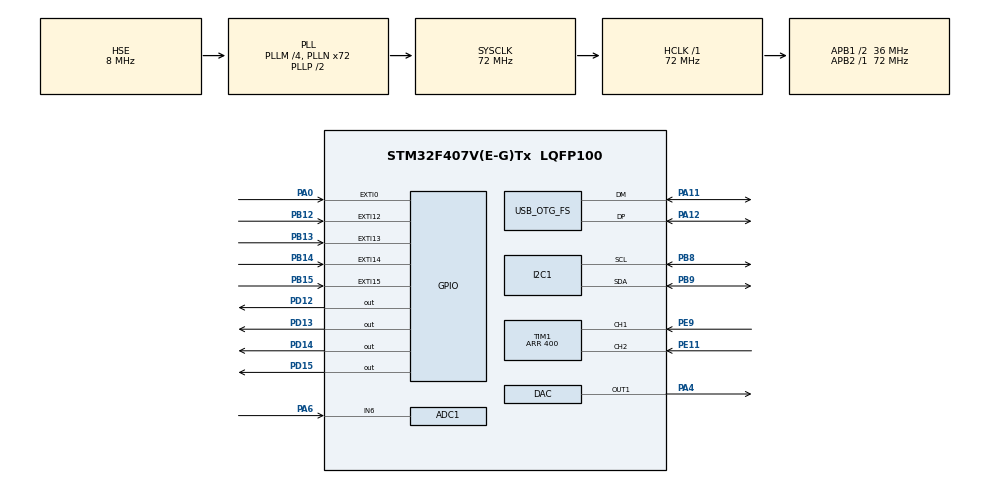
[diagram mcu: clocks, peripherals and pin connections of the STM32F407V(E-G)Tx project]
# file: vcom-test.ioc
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ADC1.Channel-0\#ChannelRegularConversion=ADC_CHANNEL_6
ADC1.NbrOfConversionFlag=1
ADC1.Rank-0\#ChannelRegularConversion=1
ADC1.SamplingTime-0\#ChannelRegularConversion=ADC_SAMPLETIME_3CYCLES
ADC1.master=1
Mcu.Family=STM32F4
Mcu.Name=STM32F407V(E-G)Tx
Mcu.Package=LQFP100
NVIC.EXTI0_IRQn=true\:0\:0\:false\:false\:true\:true
NVIC.EXTI15_10_IRQn=true\:0\:0\:false\:false\:true\:true
NVIC.OTG_FS_IRQn=true\:0\:0\:false\:false\:true\:false
NVIC.PriorityGroup=NVIC_PRIORITYGROUP_4
NVIC.TIM3_IRQn=true\:0\:0\:false\:false\:true\:true
NVIC.TIM4_IRQn=true\:0\:0\:false\:false\:true\:true
PA0-WKUP.GPIO_PuPd=GPIO_NOPULL
PA0-WKUP.Signal=GPXTI0
PA11.Mode=Device_Only
PA11.Signal=USB_OTG_FS_DM
PA12.Mode=Device_Only
PA12.Signal=USB_OTG_FS_DP
PA4.Signal=COMP_DAC1_group
PA6.Signal=ADCx_IN6
PB12.GPIO_PuPd=GPIO_PULLUP
PB12.Signal=GPXTI12
PB13.GPIO_PuPd=GPIO_PULLUP
PB13.Signal=GPXTI13
PB14.GPIO_PuPd=GPIO_PULLUP
PB14.Signal=GPXTI14
PB15.GPIO_PuPd=GPIO_PULLUP
PB15.Signal=GPXTI15
PB8.Mode=I2C
PB8.Signal=I2C1_SCL
PB9.Mode=I2C
PB9.Signal=I2C1_SDA
PD12.Signal=GPIO_Output
PD13.Signal=GPIO_Output
PD14.Signal=GPIO_Output
PD15.Signal=GPIO_Output
PE11.Signal=S_TIM1_CH2
PE9.Signal=S_TIM1_CH1
PH0-OSC_IN.Mode=HSE-External-Oscillator
PH0-OSC_IN.Signal=RCC_OSC_IN
PH1-OSC_OUT.Mode=HSE-External-Oscillator
PH1-OSC_OUT.Signal=RCC_OSC_OUT
ProjectManager.HeapSize=0x200
ProjectManager.StackSize=0x400
ProjectManager.TargetToolchain=SW4STM32
RCC.48MHZClocksFreq_Value=48000000
RCC.AHBFreq_Value=72000000
RCC.APB1CLKDivider=RCC_HCLK_DIV2
RCC.APB1Freq_Value=36000000
RCC.APB1TimFreq_Value=72000000
RCC.APB2Freq_Value=72000000
RCC.APB2TimFreq_Value=72000000
RCC.CortexFreq_Value=72000000
RCC.HCLKFreq_Value=72000000
RCC.HSE_VALUE=8000000
RCC.HSI_VALUE=16000000
RCC.LSE_VALUE=32768
RCC.PLLM=4
RCC.PLLN=72
RCC.PLLQ=3
RCC.SYSCLKFreq_VALUE=72000000
RCC.SYSCLKSource=RCC_SYSCLKSOURCE_PLLCLK
RCC.VCOOutputFreq_Value=144000000
SH.ADCx_IN6.0=ADC1_IN6,IN6
SH.COMP_DAC1_group.0=DAC_OUT1,DAC_OUT1
SH.S_TIM1_CH1.0=TIM1_CH1,Encoder_Interface
SH.S_TIM1_CH2.0=TIM1_CH2,Encoder_Interface
TIM1.EncoderMode=TIM_ENCODERMODE_TI12
TIM1.IC1Filter=15
TIM1.IC2Filter=15
TIM1.Period=400
TIM3.Period=9
TIM3.Prescaler=524
TIM4.Period=9999
TIM4.Prescaler=2099
USB_DEVICE.CLASS_NAME_FS=CDC
USB_DEVICE.VirtualMode-CDC_FS=Cdc
USB_DEVICE.VirtualModeFS=Cdc_FS
USB_OTG_FS.VirtualMode=Device_Only
VP_TIM3_VS_ClockSourceINT.Mode=Internal
VP_TIM4_VS_ClockSourceINT.Mode=Internal
VP_USB_DEVICE_VS_USB_DEVICE_CDC_FS.Mode=CDC_FS
board=custom

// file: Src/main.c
/* USER CODE BEGIN Header */
/**
  ******************************************************************************
  * @file           : main.c
  * @brief          : Main program body
  ******************************************************************************
  * This notice applies to any and all portions of this file
  * that are not between comment pairs USER CODE BEGIN and
  * USER CODE END. Other portions of this file, whether
  * inserted by the user or by software development tools
  * are owned by their respective copyright owners.
  *
  * Copyright (c) 2019 STMicroelectronics International N.V.
  * All rights reserved.
  *
  * Redistribution and use in source and binary forms, with or without
  * modification, are permitted, provided that the following conditions are met:
  *
  * 1. Redistribution of source code must retain the above copyright notice,
  *    this list of conditions and the following disclaimer.
  * 2. Redistributions in binary form must reproduce the above copyright notice,
  *    this list of conditions and the following disclaimer in the documentation
  *    and/or other materials provided with the distribution.
  * 3. Neither the name of STMicroelectronics nor the names of other
  *    contributors to this software may be used to endorse or promote products
  *    derived from this software without specific written permission.
  * 4. This software, including modifications and/or derivative works of this
  *    software, must execute solely and exclusively on microcontroller or
  *    microprocessor devices manufactured by or for STMicroelectronics.
  * 5. Redistribution and use of this software other than as permitted under
  *    this license is void and will automatically terminate your rights under
  *    this license.
  *
  * THIS SOFTWARE IS PROVIDED BY STMICROELECTRONICS AND CONTRIBUTORS "AS IS"
  * AND ANY EXPRESS, IMPLIED OR STATUTORY WARRANTIES, INCLUDING, BUT NOT
  * LIMITED TO, THE IMPLIED WARRANTIES OF MERCHANTABILITY, FITNESS FOR A
  * PARTICULAR PURPOSE AND NON-INFRINGEMENT OF THIRD PARTY INTELLECTUAL PROPERTY
  * RIGHTS ARE DISCLAIMED TO THE FULLEST EXTENT PERMITTED BY LAW. IN NO EVENT
  * SHALL STMICROELECTRONICS OR CONTRIBUTORS BE LIABLE FOR ANY DIRECT, INDIRECT,
  * INCIDENTAL, SPECIAL, EXEMPLARY, OR CONSEQUENTIAL DAMAGES (INCLUDING, BUT NOT
  * LIMITED TO, PROCUREMENT OF SUBSTITUTE GOODS OR SERVICES; LOSS OF USE, DATA,
  * OR PROFITS; OR BUSINESS INTERRUPTION) HOWEVER CAUSED AND ON ANY THEORY OF
  * LIABILITY, WHETHER IN CONTRACT, STRICT LIABILITY, OR TORT (INCLUDING
  * NEGLIGENCE OR OTHERWISE) ARISING IN ANY WAY OUT OF THE USE OF THIS SOFTWARE,
  * EVEN IF ADVISED OF THE POSSIBILITY OF SUCH DAMAGE.
  *
  ******************************************************************************
  */
/* USER CODE END Header */

#include "main.h"
#include "usb_device.h"

/* USER CODE BEGIN Includes */
#include "usbd_cdc_if.h"
#include "displayer.h"
#include "i2c-lcd.h"

/* USER CODE END Includes */

ADC_HandleTypeDef hadc1;

DAC_HandleTypeDef hdac;

I2C_HandleTypeDef hi2c1;

TIM_HandleTypeDef htim1;
TIM_HandleTypeDef htim3;
TIM_HandleTypeDef htim4;

/* USER CODE BEGIN PV */

uint8_t DataToSend[200]; // Tablica zawierajaca dane do wyslania
uint8_t MessageCounter = 0; // Licznik wyslanych wiadomosci
uint8_t MessageLength = 0; // Zawiera dlugosc wysylanej wiadomosci

uint8_t ReceivedData[200]; // Tablica przechowujaca odebrane dane
uint8_t ReceivedDataFlag = 0; // Flaga informujaca o odebraniu danych

uint8_t ReceivedText[180];
uint8_t ReceivedUser[32];
uint8_t ReceivedChannel[50];
uint8_t ReceivedMessages[5];

uint8_t NewMessages[25];
uint8_t timer = 0;
uint8_t NewMessageFlag = 0;

int tim_count = 0;

uint8_t ReceivedTextCount = 0;
uint8_t ReceivedChannelCount = 0;
uint8_t ReceivedUserCount = 0;
const uint8_t* ChannelMessages = "%s new messages";

int state = 1;
int position = 5;

volatile int audio = 0;
uint16_t value;

volatile int speaker = 0;

extern const uint8_t click[19592];
extern const uint8_t start[182734];
int clicker = 1;

/* USER CODE END PV */

void SystemClock_Config(void);
static void MX_GPIO_Init(void);
static void MX_I2C1_Init(void);
static void MX_TIM1_Init(void);
static void MX_TIM4_Init(void);
static void MX_TIM3_Init(void);
static void MX_DAC_Init(void);
static void MX_ADC1_Init(void);
/* USER CODE BEGIN PFP */

void HAL_TIM_PeriodElapsedCallback(TIM_HandleTypeDef *htim){
    if(htim->Instance == TIM4) {

        if (NewMessageFlag == 1){
            HAL_GPIO_TogglePin(GPIOD, GPIO_PIN_15);
        }
    HAL_GPIO_TogglePin(GPIOD, GPIO_PIN_14);

        if (state == 3 && strlen(ReceivedText) > 16){

            if (ReceivedTextCount<  strlen(ReceivedText)){
                lcd_send_second_line(ReceivedText+ReceivedTextCount);
            }
            else if (ReceivedTextCount >= strlen(ReceivedText)){
                ReceivedTextCount = 0;
                lcd_send_second_line(ReceivedText+ReceivedTextCount);
            }
          ReceivedTextCount++;
        }

        if (state == 2 && \
        strlen(ReceivedChannel) > 16){
            if (ReceivedChannelCount<  strlen(ReceivedChannel)){
                lcd_send_first_line(ReceivedChannel+ReceivedChannelCount);
            }
            else if (ReceivedChannelCount >= strlen(ReceivedChannel)){
                ReceivedChannelCount = 0;
                lcd_send_first_line(ReceivedChannel+ReceivedChannelCount);
            }
            ReceivedChannelCount++;
        }

    }
    if (htim->Instance == TIM3) {
timer++;
        if (clicker == 1) {
            if (speaker < 19592) {

                if (timer % 2 == 0) {
                    audio = click[speaker += 2];
                }

            } else if (speaker >= 19592) {
                clicker=0;
                speaker = 0;
            }
        }
        }

}

/* USER CODE END PFP */

int main(void)
{

  /* MCU Configuration--------------------------------------------------------*/

  /* Reset of all peripherals, Initializes the Flash interface and the Systick. */
  HAL_Init();

  /* Configure the system clock */
  SystemClock_Config();

  /* Initialize all configured peripherals */
  MX_GPIO_Init();
  MX_USB_DEVICE_Init();
  MX_I2C1_Init();
  MX_TIM1_Init();
  MX_TIM4_Init();
  MX_TIM3_Init();
  MX_DAC_Init();
  MX_ADC1_Init();
  /* USER CODE BEGIN 2 */

    lcd_init();
    lcd_clear();
    lcd_send_first_line("Welcome in");
    lcd_send_second_line("Slack Diplayer");
    HAL_Delay(2000);
    menu(0);
    HAL_TIM_Base_Start_IT(&htim4);
    HAL_TIM_Base_Start_IT(&htim3);
    HAL_DAC_Start(&hdac, DAC_CHANNEL_1);

  /* USER CODE END 2 */

  /* Infinite loop */
  /* USER CODE BEGIN WHILE */
  while (1)
  {
//

    //down pin K7
      if(HAL_GPIO_ReadPin(GPIOB, GPIO_PIN_15) != GPIO_PIN_SET) {
          HAL_Delay(100);
          if (HAL_GPIO_ReadPin(GPIOB, GPIO_PIN_15) != GPIO_PIN_SET) {

              if (state == 2){
                  MessageLength = (uint8_t) sprintf(DataToSend, "cch_dn");
                  CDC_Transmit_FS(DataToSend, MessageLength);

                  while (ReceivedDataFlag != 1){
                      HAL_Delay(3);
                  }

                  speaker = 0;
                  clicker = 1;
                  ReceivedDataFlag = 0;
                  uint8_t iter;
                  for (iter = 0; iter < 200; ++iter) {
                      DataToSend[iter] = 0;
                  }

                  for (iter = 0; iter < 50; ++iter) {
                      ReceivedChannel[iter] = 0;
                  }

                  for (iter = 0; iter < 5; iter++){
                      ReceivedMessages[iter]=0;
                  }

                  int index = 0;
                  int user_index = 0;
                  int text_index = 0;
                  //-----------------------------------------------------------------------------------
                  while(ReceivedData[index]!='~'){
                      index++;
                      user_index++;
                  }
                  index++;
                  text_index=index;

                  while(ReceivedData[index]!='~'){
                      text_index++;
                      index++;
                  }

                  strncpy(ReceivedMessages, ReceivedData+text_index+1, 50-index-1);
                  strncpy(ReceivedChannel, ReceivedData+user_index+1, text_index-user_index-1);

                  ReceivedChannel[48]='\0';
                  ReceivedChannel[strlen(ReceivedChannel)] = ' ';
                  ReceivedChannel[strlen(ReceivedChannel)] = '\0';
                  ReceivedChannelCount = 0;
                  //display
                  lcd_clear();
                  lcd_send_first_line(ReceivedChannel);
                  sprintf(NewMessages, ChannelMessages, ReceivedMessages);
                  lcd_send_second_line(NewMessages);

              }

              if (state == 3){
                  MessageLength = (uint8_t) sprintf(DataToSend, "cms_dn");
                  CDC_Transmit_FS(DataToSend, MessageLength);

                  while (ReceivedDataFlag != 1){
                      HAL_Delay(3);
                  }

                  speaker = 0;
                  clicker = 1;

                  ReceivedDataFlag = 0;
                  uint8_t iter;
                  for (iter = 0; iter < 200; ++iter) {
                      DataToSend[iter] = 0;
                  }

                  for (iter = 0; iter < 32; ++iter) {
                      ReceivedUser[iter] = 0;
                  }
                  for (iter = 0; iter < 180; ++iter) {
                      ReceivedText[iter] = 0;
                  }

                  int index = 0;
                  int user_index = 0;
                  int text_index = 0;
                  //-----------------------------------------------------------------------------------
                  while(ReceivedData[index]!='~'){
                      index++;
                      user_index++;
                  }
                  index++;
                  text_index=index;

                  while(ReceivedData[index]!='~'){
                      text_index++;
                      index++;
                  }

                  strncpy(ReceivedText, ReceivedData+text_index+1, 200-text_index-1);
                  strncpy(ReceivedUser, ReceivedData+user_index+1, text_index-user_index-1);
                  ReceivedUser[text_index-user_index-1]='\0';

                  ReceivedText[strlen(ReceivedText)] = ' ';
                  ReceivedText[strlen(ReceivedText)] = '\0';

                  ReceivedTextCount = 0;

                  //display
                  lcd_clear();
                  lcd_send_first_line(ReceivedUser);
                  lcd_send_second_line(ReceivedText);
              }

          }
      }

      //up pin K3
      if(HAL_GPIO_ReadPin(GPIOB, GPIO_PIN_13) != GPIO_PIN_SET) {

          HAL_Delay(100);
          if (HAL_GPIO_ReadPin(GPIOB, GPIO_PIN_13) != GPIO_PIN_SET) {
              if (state == 2){

                  MessageLength = (uint8_t) sprintf(DataToSend, "cch_up");
                  CDC_Transmit_FS(DataToSend, MessageLength);

                  while (ReceivedDataFlag != 1){
                      HAL_Delay(3);
                  }

                  speaker = 0;
                  clicker = 1;

                  ReceivedDataFlag = 0;
                  uint8_t iter;
                  for (iter = 0; iter < 200; ++iter) {
                      DataToSend[iter] = 0;
                  }

                  for (iter = 0; iter < 50; ++iter) {
                      ReceivedChannel[iter] = 0;
                  }

                  for (iter = 0; iter < 5; iter++){
                      ReceivedMessages[iter]=0;
                  }

                  int index = 0;
                  int user_index = 0;
                  int text_index = 0;
                  //-----------------------------------------------------------------------------------
                  while(ReceivedData[index]!='~'){
                      index++;
                      user_index++;
                  }
                  index++;
                  text_index=index;

                  while(ReceivedData[index]!='~'){
                      text_index++;
                      index++;
                  }

                  strncpy(ReceivedMessages, ReceivedData+text_index+1, 50-index-1);
                  strncpy(ReceivedChannel, ReceivedData+user_index+1, text_index-user_index-1);

                  ReceivedChannel[48]='\0';
                  ReceivedChannel[strlen(ReceivedChannel)] = ' ';
                  ReceivedChannel[strlen(ReceivedChannel)] = '\0';
                  ReceivedChannelCount = 0;
                  //display
                  lcd_clear();
                  lcd_send_first_line(ReceivedChannel);
                  sprintf(NewMessages, ChannelMessages, ReceivedMessages);
                  lcd_send_second_line(NewMessages);
              }

              if (state == 3){
                  MessageLength = (uint8_t) sprintf(DataToSend, "cms_up");
                  CDC_Transmit_FS(DataToSend, MessageLength);

                  while (ReceivedDataFlag != 1){
                      HAL_Delay(3);
                  }
                  speaker = 0;
                  clicker = 1;
                  ReceivedDataFlag = 0;
                  uint8_t iter;
                  for (iter = 0; iter < 200; ++iter) {
                      DataToSend[iter] = 0;
                  }

                  for (iter = 0; iter < 32; ++iter) {
                      ReceivedUser[iter] = 0;
                  }
                  for (iter = 0; iter < 180; ++iter) {
                      ReceivedText[iter] = 0;
                  }

                  int index = 0;
                  int user_index = 0;
                  int text_index = 0;
                  //-----------------------------------------------------------------------------------
                  while(ReceivedData[index]!='~'){
                      index++;
                      user_index++;
                  }
                  index++;
                  text_index=index;

                  while(ReceivedData[index]!='~'){
                      text_index++;
                      index++;
                  }

                  strncpy(ReceivedText, ReceivedData+text_index+1, 200-text_index-1);
                  strncpy(ReceivedUser, ReceivedData+user_index+1, text_index-user_index-1);
                  ReceivedUser[text_index-user_index-1]='\0';

                  ReceivedText[strlen(ReceivedText)] = ' ';
                  ReceivedText[strlen(ReceivedText)] = '\0';
                  ReceivedTextCount = 0;
                  //display
                  lcd_clear();
                  lcd_send_first_line(ReceivedUser);
                  lcd_send_second_line(ReceivedText);
              }
          }
      }

      //ok pin K6
      if(HAL_GPIO_ReadPin(GPIOB, GPIO_PIN_14) != GPIO_PIN_SET) {
          HAL_Delay(100);
          if (HAL_GPIO_ReadPin(GPIOB, GPIO_PIN_14) != GPIO_PIN_SET) {
              HAL_GPIO_TogglePin(GPIOD, GPIO_PIN_13);

              if (state == 2){
                  MessageLength = (uint8_t) sprintf(DataToSend, "cms_dn");
                  CDC_Transmit_FS(DataToSend, MessageLength);

                  while (ReceivedDataFlag != 1){
                      HAL_Delay(3);
                  }
                  speaker = 0;
                  clicker = 1;
                  ReceivedDataFlag = 0;
                  uint8_t iter;
                  for (iter = 0; iter < 200; ++iter) {
                      DataToSend[iter] = 0;
                  }

                  for (iter = 0; iter < 32; ++iter) {
                      ReceivedUser[iter] = 0;
                  }
                  for (iter = 0; iter < 180; ++iter) {
                      ReceivedText[iter] = 0;
                  }

                  int index = 0;
                  int user_index = 0;
                  int text_index = 0;
                  //-----------------------------------------------------------------------------------
                  while(ReceivedData[index]!='~'){
                      index++;
                      user_index++;
                  }
                  index++;
                  text_index=index;

                  while(ReceivedData[index]!='~'){
                      text_index++;
                      index++;
                  }

                  strncpy(ReceivedText, ReceivedData+text_index+1, 200-text_index-1);
                  strncpy(ReceivedUser, ReceivedData+user_index+1, text_index-user_index-1);
                  ReceivedUser[text_index-user_index-1]='\0';

                  state=3;
                  ReceivedText[strlen(ReceivedText)] = ' ';
                  ReceivedText[strlen(ReceivedText)] = '\0';
                  ReceivedTextCount = 0;
                  //display
                  lcd_clear();
                  lcd_send_first_line(ReceivedUser);
                  lcd_send_second_line(ReceivedText);
              }

              if (state == 1 && position == 5){

                  MessageLength = (uint8_t) sprintf(DataToSend, "cch_get");
                  CDC_Transmit_FS(DataToSend, MessageLength);

                  while (ReceivedDataFlag != 1){
                      HAL_Delay(3);
                  }

                  speaker = 0;
                  clicker = 1;
                  ReceivedDataFlag = 0;
                  uint8_t iter;
                  for (iter = 0; iter < 200; ++iter) {
                      DataToSend[iter] = 0;
                  }

                  for (iter = 0; iter < 50; ++iter) {
                      ReceivedChannel[iter] = 0;
                  }
                  for (iter = 0; iter < 5; iter++){
                      ReceivedMessages[iter]=0;
                  }

                  int index = 0;
                  int user_index = 0;
                  int text_index = 0;
                  //-----------------------------------------------------------------------------------
                  while(ReceivedData[index]!='~'){
                      index++;
                      user_index++;
                  }
                  index++;
                  text_index=index;

                  while(ReceivedData[index]!='~'){
                      text_index++;
                      index++;
                  }

                  strncpy(ReceivedMessages, ReceivedData+text_index+1, 50-index-1);
                  strncpy(ReceivedChannel, ReceivedData+user_index+1, text_index-user_index-1);

                  ReceivedChannel[48]='\0';
                  ReceivedChannel[strlen(ReceivedChannel)] = ' ';
                  ReceivedChannel[strlen(ReceivedChannel)] = '\0';
                  ReceivedChannelCount = 0;

                  //display
                  lcd_clear();
                  lcd_send_first_line(ReceivedChannel);
                  sprintf(NewMessages, ChannelMessages, ReceivedMessages);
                  lcd_send_second_line(NewMessages);
                  state=2;

              }

          }
      }

      //menu pin K2
      if(HAL_GPIO_ReadPin(GPIOB, GPIO_PIN_12) != GPIO_PIN_SET) {
          HAL_Delay(100);
          if (HAL_GPIO_ReadPin(GPIOB, GPIO_PIN_12) != GPIO_PIN_SET) {
              if (state == 2 || state == 3){
                  state = 1;
                  menu(0);
              }
          }
      }

      /*led*/
      //-----------------------------------------------------

      if(ReceivedDataFlag == 1){
          ReceivedDataFlag = 0;

          if (ReceivedData[0] == 'n' && ReceivedData[1]=='e' && ReceivedData[2]=='w'){
              NewMessageFlag = 1;
          }
          if (ReceivedData[0] == 'o' && ReceivedData[1]=='l' && ReceivedData[2]=='d'){
              NewMessageFlag = 0;
              HAL_GPIO_WritePin(GPIOD, GPIO_PIN_15, GPIO_PIN_RESET);
          }

      }

      /*sound*/
      //-----------------------------------------------------
      HAL_DAC_SetValue(&hdac, DAC_CHANNEL_1, DAC_ALIGN_12B_R, audio);
      HAL_ADC_Start(&hadc1);

      if(HAL_ADC_PollForConversion(&hadc1, 10) == HAL_OK) {
          value = HAL_ADC_GetValue(&hadc1);
      }
      HAL_DAC_SetValue(&hdac, DAC_CHANNEL_1, DAC_ALIGN_12B_R, audio);

    /* USER CODE END WHILE */

  }
}

void SystemClock_Config(void)
{
  RCC_OscInitTypeDef RCC_OscInitStruct = {0};
  RCC_ClkInitTypeDef RCC_ClkInitStruct = {0};

  /**Configure the main internal regulator output voltage
  */
  __HAL_RCC_PWR_CLK_ENABLE();
  __HAL_PWR_VOLTAGESCALING_CONFIG(PWR_REGULATOR_VOLTAGE_SCALE1);
  /**Initializes the CPU, AHB and APB busses clocks
  */
  RCC_OscInitStruct.OscillatorType = RCC_OSCILLATORTYPE_HSE;
  RCC_OscInitStruct.HSEState = RCC_HSE_ON;
  RCC_OscInitStruct.PLL.PLLState = RCC_PLL_ON;
  RCC_OscInitStruct.PLL.PLLSource = RCC_PLLSOURCE_HSE;
  RCC_OscInitStruct.PLL.PLLM = 4;
  RCC_OscInitStruct.PLL.PLLN = 72;
  RCC_OscInitStruct.PLL.PLLP = RCC_PLLP_DIV2;
  RCC_OscInitStruct.PLL.PLLQ = 3;
  if (HAL_RCC_OscConfig(&RCC_OscInitStruct) != HAL_OK)
  {
    Error_Handler();
  }
  /**Initializes the CPU, AHB and APB busses clocks
  */
  RCC_ClkInitStruct.ClockType = RCC_CLOCKTYPE_HCLK|RCC_CLOCKTYPE_SYSCLK
                              |RCC_CLOCKTYPE_PCLK1|RCC_CLOCKTYPE_PCLK2;
  RCC_ClkInitStruct.SYSCLKSource = RCC_SYSCLKSOURCE_PLLCLK;
  RCC_ClkInitStruct.AHBCLKDivider = RCC_SYSCLK_DIV1;
  RCC_ClkInitStruct.APB1CLKDivider = RCC_HCLK_DIV2;
  RCC_ClkInitStruct.APB2CLKDivider = RCC_HCLK_DIV1;

  if (HAL_RCC_ClockConfig(&RCC_ClkInitStruct, FLASH_LATENCY_2) != HAL_OK)
  {
    Error_Handler();
  }
}

static void MX_ADC1_Init(void)
{

  ADC_ChannelConfTypeDef sConfig = {0};

  /**Configure the global features of the ADC (Clock, Resolution, Data Alignment and number of conversion)
  */
  hadc1.Instance = ADC1;
  hadc1.Init.ClockPrescaler = ADC_CLOCK_SYNC_PCLK_DIV2;
  hadc1.Init.Resolution = ADC_RESOLUTION_12B;
  hadc1.Init.ScanConvMode = DISABLE;
  hadc1.Init.ContinuousConvMode = DISABLE;
  hadc1.Init.DiscontinuousConvMode = DISABLE;
  hadc1.Init.ExternalTrigConvEdge = ADC_EXTERNALTRIGCONVEDGE_NONE;
  hadc1.Init.ExternalTrigConv = ADC_SOFTWARE_START;
  hadc1.Init.DataAlign = ADC_DATAALIGN_RIGHT;
  hadc1.Init.NbrOfConversion = 1;
  hadc1.Init.DMAContinuousRequests = DISABLE;
  hadc1.Init.EOCSelection = ADC_EOC_SINGLE_CONV;
  if (HAL_ADC_Init(&hadc1) != HAL_OK)
  {
    Error_Handler();
  }
  /**Configure for the selected ADC regular channel its corresponding rank in the sequencer and its sample time.
  */
  sConfig.Channel = ADC_CHANNEL_6;
  sConfig.Rank = 1;
  sConfig.SamplingTime = ADC_SAMPLETIME_3CYCLES;
  if (HAL_ADC_ConfigChannel(&hadc1, &sConfig) != HAL_OK)
  {
    Error_Handler();
  }

}

static void MX_DAC_Init(void)
{

  DAC_ChannelConfTypeDef sConfig = {0};

  /**DAC Initialization
  */
  hdac.Instance = DAC;
  if (HAL_DAC_Init(&hdac) != HAL_OK)
  {
    Error_Handler();
  }
  /**DAC channel OUT1 config
  */
  sConfig.DAC_Trigger = DAC_TRIGGER_NONE;
  sConfig.DAC_OutputBuffer = DAC_OUTPUTBUFFER_ENABLE;
  if (HAL_DAC_ConfigChannel(&hdac, &sConfig, DAC_CHANNEL_1) != HAL_OK)
  {
    Error_Handler();
  }

}

static void MX_I2C1_Init(void)
{

  hi2c1.Instance = I2C1;
  hi2c1.Init.ClockSpeed = 100000;
  hi2c1.Init.DutyCycle = I2C_DUTYCYCLE_2;
  hi2c1.Init.OwnAddress1 = 0;
  hi2c1.Init.AddressingMode = I2C_ADDRESSINGMODE_7BIT;
  hi2c1.Init.DualAddressMode = I2C_DUALADDRESS_DISABLE;
  hi2c1.Init.OwnAddress2 = 0;
  hi2c1.Init.GeneralCallMode = I2C_GENERALCALL_DISABLE;
  hi2c1.Init.NoStretchMode = I2C_NOSTRETCH_DISABLE;
  if (HAL_I2C_Init(&hi2c1) != HAL_OK)
  {
    Error_Handler();
  }

}

static void MX_TIM1_Init(void)
{

  TIM_Encoder_InitTypeDef sConfig = {0};
  TIM_MasterConfigTypeDef sMasterConfig = {0};

  htim1.Instance = TIM1;
  htim1.Init.Prescaler = 0;
  htim1.Init.CounterMode = TIM_COUNTERMODE_UP;
  htim1.Init.Period = 400;
  htim1.Init.ClockDivision = TIM_CLOCKDIVISION_DIV1;
  htim1.Init.RepetitionCounter = 0;
  sConfig.EncoderMode = TIM_ENCODERMODE_TI12;
  sConfig.IC1Polarity = TIM_ICPOLARITY_RISING;
  sConfig.IC1Selection = TIM_ICSELECTION_DIRECTTI;
  sConfig.IC1Prescaler = TIM_ICPSC_DIV1;
  sConfig.IC1Filter = 15;
  sConfig.IC2Polarity = TIM_ICPOLARITY_RISING;
  sConfig.IC2Selection = TIM_ICSELECTION_DIRECTTI;
  sConfig.IC2Prescaler = TIM_ICPSC_DIV1;
  sConfig.IC2Filter = 15;
  if (HAL_TIM_Encoder_Init(&htim1, &sConfig) != HAL_OK)
  {
    Error_Handler();
  }
  sMasterConfig.MasterOutputTrigger = TIM_TRGO_RESET;
  sMasterConfig.MasterSlaveMode = TIM_MASTERSLAVEMODE_DISABLE;
  if (HAL_TIMEx_MasterConfigSynchronization(&htim1, &sMasterConfig) != HAL_OK)
  {
    Error_Handler();
  }

}

static void MX_TIM3_Init(void)
{

  TIM_ClockConfigTypeDef sClockSourceConfig = {0};
  TIM_MasterConfigTypeDef sMasterConfig = {0};

  htim3.Instance = TIM3;
  htim3.Init.Prescaler = 130;
  htim3.Init.CounterMode = TIM_COUNTERMODE_UP;
  htim3.Init.Period = 9;
  htim3.Init.ClockDivision = TIM_CLOCKDIVISION_DIV1;
  if (HAL_TIM_Base_Init(&htim3) != HAL_OK)
  {
    Error_Handler();
  }
  sClockSourceConfig.ClockSource = TIM_CLOCKSOURCE_INTERNAL;
  if (HAL_TIM_ConfigClockSource(&htim3, &sClockSourceConfig) != HAL_OK)
  {
    Error_Handler();
  }
  sMasterConfig.MasterOutputTrigger = TIM_TRGO_RESET;
  sMasterConfig.MasterSlaveMode = TIM_MASTERSLAVEMODE_DISABLE;
  if (HAL_TIMEx_MasterConfigSynchronization(&htim3, &sMasterConfig) != HAL_OK)
  {
    Error_Handler();
  }

}

static void MX_TIM4_Init(void)
{

  TIM_ClockConfigTypeDef sClockSourceConfig = {0};
  TIM_MasterConfigTypeDef sMasterConfig = {0};

  htim4.Instance = TIM4;
  htim4.Init.Prescaler = 5249;
  htim4.Init.CounterMode = TIM_COUNTERMODE_UP;
  htim4.Init.Period = 9999;
  htim4.Init.ClockDivision = TIM_CLOCKDIVISION_DIV1;
  if (HAL_TIM_Base_Init(&htim4) != HAL_OK)
  {
    Error_Handler();
  }
  sClockSourceConfig.ClockSource = TIM_CLOCKSOURCE_INTERNAL;
  if (HAL_TIM_ConfigClockSource(&htim4, &sClockSourceConfig) != HAL_OK)
  {
    Error_Handler();
  }
  sMasterConfig.MasterOutputTrigger = TIM_TRGO_RESET;
  sMasterConfig.MasterSlaveMode = TIM_MASTERSLAVEMODE_DISABLE;
  if (HAL_TIMEx_MasterConfigSynchronization(&htim4, &sMasterConfig) != HAL_OK)
  {
    Error_Handler();
  }

}

static void MX_GPIO_Init(void)
{
  GPIO_InitTypeDef GPIO_InitStruct = {0};

  /* GPIO Ports Clock Enable */
  __HAL_RCC_GPIOH_CLK_ENABLE();
  __HAL_RCC_GPIOA_CLK_ENABLE();
  __HAL_RCC_GPIOE_CLK_ENABLE();
  __HAL_RCC_GPIOB_CLK_ENABLE();
  __HAL_RCC_GPIOD_CLK_ENABLE();

  /*Configure GPIO pin Output Level */
  HAL_GPIO_WritePin(GPIOD, GPIO_PIN_12|GPIO_PIN_13|GPIO_PIN_14|GPIO_PIN_15, GPIO_PIN_RESET);

  /*Configure GPIO pin : PA0 */
  GPIO_InitStruct.Pin = GPIO_PIN_0;
  GPIO_InitStruct.Mode = GPIO_MODE_IT_RISING;
  GPIO_InitStruct.Pull = GPIO_NOPULL;
  HAL_GPIO_Init(GPIOA, &GPIO_InitStruct);

  /*Configure GPIO pins : PB12 PB13 PB14 PB15 */
  GPIO_InitStruct.Pin = GPIO_PIN_12|GPIO_PIN_13|GPIO_PIN_14|GPIO_PIN_15;
  GPIO_InitStruct.Mode = GPIO_MODE_IT_RISING;
  GPIO_InitStruct.Pull = GPIO_PULLUP;
  HAL_GPIO_Init(GPIOB, &GPIO_InitStruct);

  /*Configure GPIO pins : PD12 PD13 PD14 PD15 */
  GPIO_InitStruct.Pin = GPIO_PIN_12|GPIO_PIN_13|GPIO_PIN_14|GPIO_PIN_15;
  GPIO_InitStruct.Mode = GPIO_MODE_OUTPUT_PP;
  GPIO_InitStruct.Pull = GPIO_NOPULL;
  GPIO_InitStruct.Speed = GPIO_SPEED_FREQ_LOW;
  HAL_GPIO_Init(GPIOD, &GPIO_InitStruct);

  /* EXTI interrupt init*/
  HAL_NVIC_SetPriority(EXTI0_IRQn, 0, 0);
  HAL_NVIC_EnableIRQ(EXTI0_IRQn);

  HAL_NVIC_SetPriority(EXTI15_10_IRQn, 0, 0);
  HAL_NVIC_EnableIRQ(EXTI15_10_IRQn);

}

void Error_Handler(void)
{
}

/************************ (C) COPYRIGHT STMicroelectronics *****END OF FILE****/
